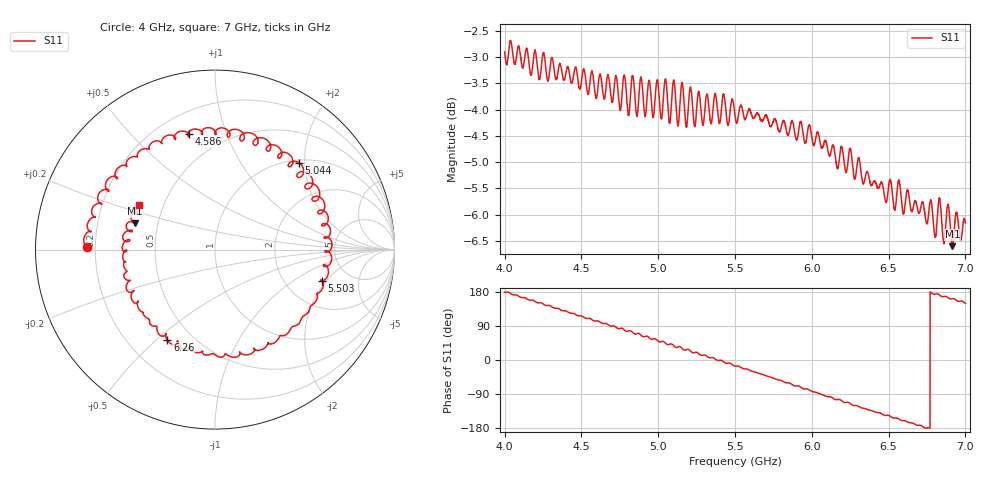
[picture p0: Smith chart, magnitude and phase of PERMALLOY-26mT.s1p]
#  HZ  S  RI  R  50.0
! Rohde & Schwarz ZVL13 2Ports - Version 3.31 - 1303.6509k13 SN: 101088
! Date: 2023-03-03 14:33:38
! Data & Calibration Information:
! Trc2:S21(TOSM)
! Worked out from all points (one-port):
!   4000 points, 4 GHz to 7 GHz, reference 50 ohm
!   lowest |S11| = -6.6 dB at 6.916 GHz (marker M1), VSWR 2.76, Z = 18.5 + j6.92 ohm
!   |S11| at or under -10 dB: nowhere
!   S11 on the Smith chart (normalised r, x): 4 GHz: 0.17, +0.01; 4.586 GHz: 0.33, +0.74; 5.044 GHz: 1.05, +1.87; 5.503 GHz: 3.16, -1.79; 6.26 GHz: 0.36, -0.54; 7 GHz: 0.36, +0.24
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4e9  -0.7159 0.0156
4.024006e9  -0.7119 0.0116
4.194299e9  -0.6526 0.2963
4.375094e9  -0.4431 0.5194
4.51838e9  -0.2579 0.638
4.585896e9  -0.1462 0.6432
4.674419e9  -0.035 0.6798
4.750188e9  0.0781 0.6276
4.777194e9  0.116 0.6699
4.883721e9  0.2612 0.6229
5.043511e9  0.4663 0.4849
5.125281e9  0.5097 0.3386
5.16129e9  0.5832 0.3124
5.186047e9  0.5408 0.2809
5.213803e9  0.6115 0.2476
5.31958e9  0.6442 0.1015
5.500375e9  0.5983 -0.1743
5.502626e9  0.5944 -0.1743
5.645911e9  0.5195 -0.3483
5.875469e9  0.2531 -0.559
6.03976e9  0.0288 -0.5987
6.250563e9  -0.2441 -0.525
6.259565e9  -0.2653 -0.5036
6.461365e9  -0.4303 -0.3177
6.625656e9  -0.5079 -0.1471
6.829707e9  -0.5145 0.0723
6.915979e9  -0.4446 0.146
7e9  -0.4236 0.2511
